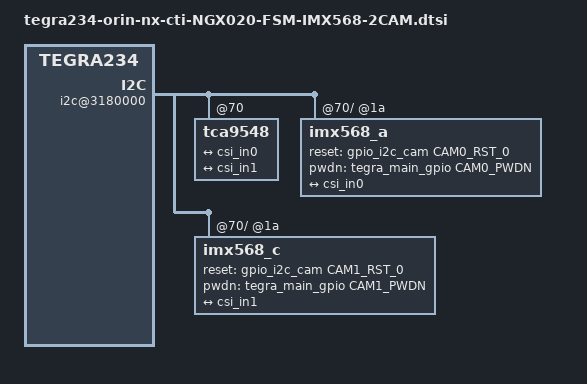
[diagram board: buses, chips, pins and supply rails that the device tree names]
/*
 * Copyright (c) 2023, Connect Tech Inc.  All rights reserved.
 *
 * This program is free software; you can redistribute it and/or modify it
 * under the terms and conditions of the GNU General Public License,
 * version 2, as published by the Free Software Foundation.
 *
 * This program is distributed in the hope it will be useful, but WITHOUT
 * ANY WARRANTY; without even the implied warranty of MERCHANTABILITY or
 * FITNESS FOR A PARTICULAR PURPOSE.  See the GNU General Public License for
 * more details.
 *
 * You should have received a copy of the GNU General Public License
 * along with this program.  If not, see <http://www.gnu.org/licenses/>.
 */

#include "tegra234-orin-nx-cti-NGX020-FSM-2CAM-base.dtsi"
#include "tegra234-cti-fsm-imx568-modes-header.dtsi"

#include "dt-bindings/clock/tegra234-clock.h"


#define NUM_LANES "4"
#define PIX_CLK_HZ "475200000"
#define BUS_WIDTH <4>
/ {
	i2c@3180000 {
		tca9548@70 {
			status = "okay";	
			i2c@0 {
					status = "okay";
					imx568_a@1a{
								status  = "okay";							
								devnode = "video0";
								
                                reset-gpios = <&gpio_i2c_cam CAM0_RST_0 GPIO_ACTIVE_HIGH>;
								pwdn-gpios = <&tegra_main_gpio CAM0_PWDN GPIO_ACTIVE_HIGH>;
                                
                                SENSOR_COMMON


#define TEGRA_SINTERFACE I2C0_SINTERFACE
#define LANE_POLARITY I2C0_LANEPOLARITY

                                SENSOR_MODE0_4LANE
                                SENSOR_MODE1_4LANE
                                SENSOR_MODE2_4LANE
                                SENSOR_MODE3_4LANE
                                SENSOR_MODE4_4LANE
                                SENSOR_MODE5_4LANE
                                SENSOR_MODE6_4LANE
                                SENSOR_MODE7_4LANE

								


								ports {
									#address-cells = <1>;
									#size-cells = <0>;

									port@0 {
										reg = <0>;
										vi_out0: endpoint {
											port-index = VI_CSI_PORT_INDEX0;
											bus-width = BUS_WIDTH;
											remote-endpoint = <&csi_in0>;
										};
									};
								};
					};
				};
				i2c@1 {
					status = "okay";
					imx568_c@1a{
								status = "okay";
								devnode = "video2";
								
                                reset-gpios = <&gpio_i2c_cam CAM1_RST_0 GPIO_ACTIVE_HIGH>;
								pwdn-gpios = <&tegra_main_gpio CAM1_PWDN GPIO_ACTIVE_HIGH>;
								
                                SENSOR_COMMON

#undef TEGRA_SINTERFACE
#undef LANE_POLARITY
#define TEGRA_SINTERFACE I2C1_SINTERFACE
#define LANE_POLARITY I2C1_LANEPOLARITY

                                SENSOR_MODE0_4LANE
                                SENSOR_MODE1_4LANE
                                SENSOR_MODE2_4LANE
                                SENSOR_MODE3_4LANE
                                SENSOR_MODE4_4LANE
                                SENSOR_MODE5_4LANE
                                SENSOR_MODE6_4LANE
                                SENSOR_MODE7_4LANE



								ports {
									#address-cells = <1>;
									#size-cells = <0>;

									port@0 {
										reg = <0>;
										vi_out1: endpoint {
											port-index = VI_CSI_PORT_INDEX1;
											bus-width = BUS_WIDTH;
											remote-endpoint = <&csi_in1>;
										};
									};
								};
							};
						};
				};
				
			};

	tegra-camera-platform {
		modules {
			module0 {
				badge = "imx568_bottomleft_framos";
				position = "bottomleft";
				orientation = "1";
				status = "okay";
				drivernode0 {
					status = "okay";
					pcl_id = "v4l2_sensor";
					devname = "imx568 30-001a";
					proc-device-tree = "/proc/device-tree/i2c@3180000/tca9548@70/i2c@0/imx568_a@1a";
				};
			};
			module1 {
				badge = "imx568_centerright_framos";
				position = "centerright";
				orientation = "1";
				status = "okay";
				drivernode0 {
					status = "okay";
					pcl_id = "v4l2_sensor";
					devname = "imx568 31-001a";
					proc-device-tree = "/proc/device-tree/i2c@3180000/tca9548@70/i2c@1/imx568_c@1a";
				};
			};
		};
	};
};
